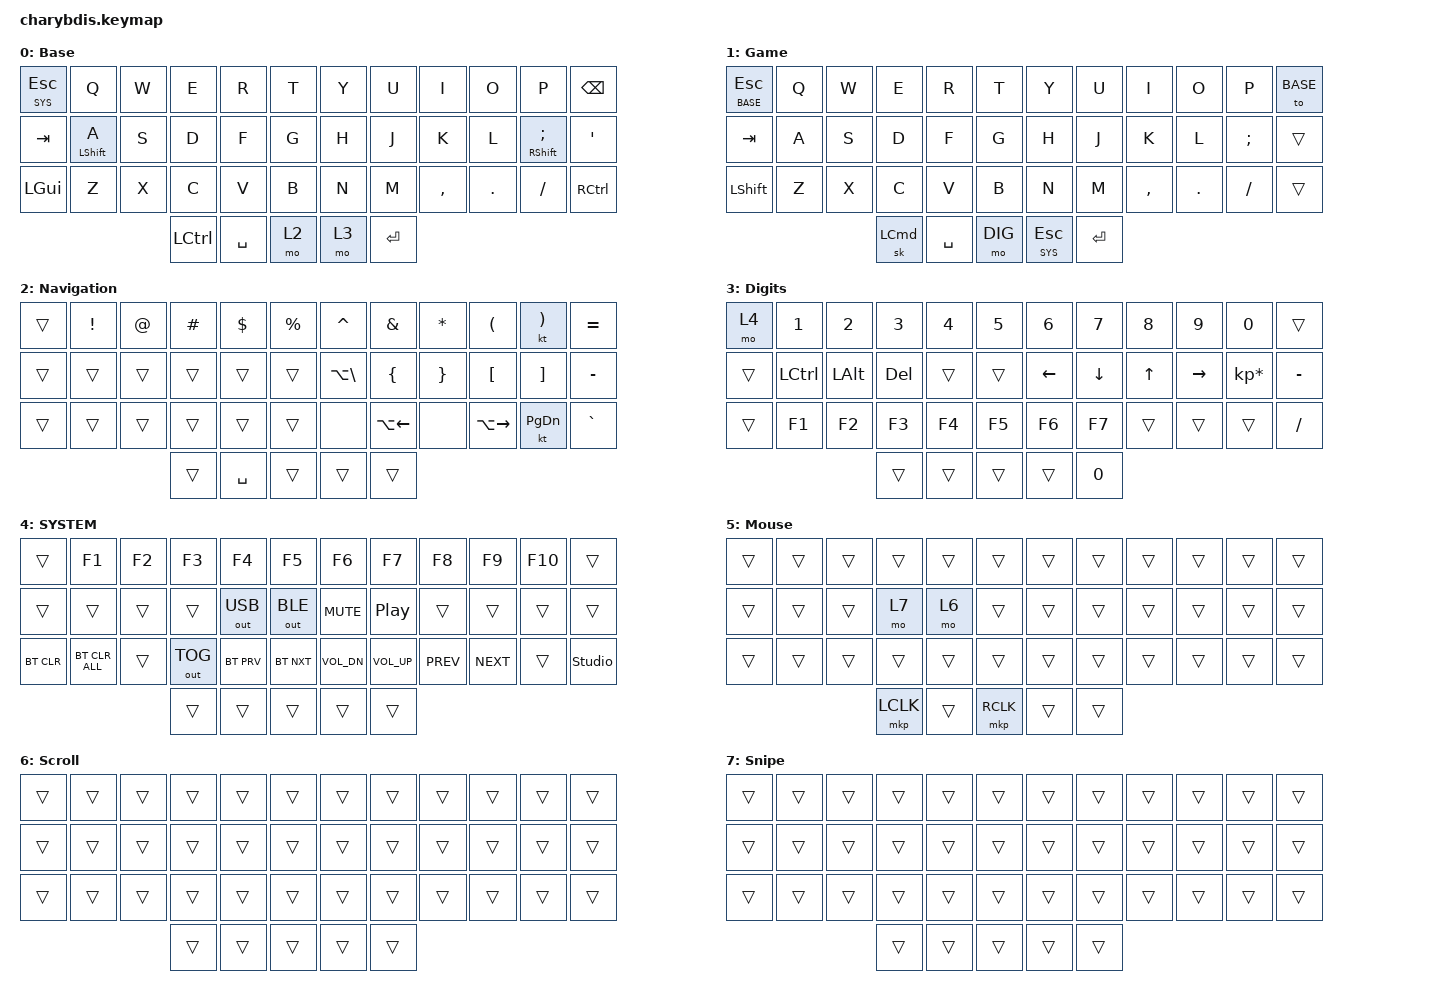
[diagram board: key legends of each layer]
#include <dt-bindings/zmk/mouse.h>
#include <input/processors.dtsi>
#include <dt-bindings/zmk/input_transform.h>

#define KEYS_L LT0 LT1 LT2 LT3 LT4 LM0 LM1 LM2 LM3 LM4 LB0 LB1 LB2 LB3 LB4 LB5  // left hand
#define KEYS_R RT0 RT1 RT2 RT3 RT4 RM0 RM1 RM2 RM3 RM4 RB0 RB1 RB2 RB3 RB4 RB5  // right hand
#define THUMBS LH2 LH1 LH0 RH0 RH1 // thumb cluster for both hands

#include "macros.dtsi"
#include <behaviors.dtsi>
#include <dt-bindings/zmk/bt.h>
#include <dt-bindings/zmk/keys.h>
#include <dt-bindings/zmk/outputs.h>
#include <dt-bindings/zmk/pointing.h>

#define BASE 0
#define GAME 1
#define NAV  2
#define DIG  3
#define SYS  4
#define MOUSE  5
#define SCROLL 6
#define SNIPE 7

&mt { flavor = "balanced"; };

/ {
    /omit-if-no-ref/ zip_temp_layer: zip_temp_layer {
        compatible = "zmk,input-processor-temp-layer";
        #input-processor-cells = <2>;
        // difines number of milliseconds no keys are pressed before swithcing to a new layear.
        require-prior-idle-ms = <2000>; 
    };
};

/ {
    trackball_listener {
        compatible = "zmk,input-listener";
        device = <&vtrackball>;

        // scaler: first is multiplier, second one is divider.
        // temp layer: first argument is layer, second is time in ms
        // zip_temp_layer: switch to a new layer after trackball moves, and stay on the layear for amount of millis

        input-processors = <&zip_xy_scaler 1 6>, <&zip_temp_layer MOUSE 1000>;

        snipe {
            layers = <SNIPE>;
            input-processors = <&zip_xy_scaler 1 18>;
        };

        scroll {
            layers = <SCROLL>;

            // scaler: first is multiplier, second one is divider.

            input-processors =
                <&zip_xy_to_scroll_mapper>,
                <&zip_scroll_transform(INPUT_TRANSFORM_XY_SWAP)>,
                <&zip_scroll_scaler 1 72>;
        };
    };

    behaviors {
        hm: hm {
            compatible = "zmk,behavior-hold-tap";
            label = "HM";
            bindings = <&kp>, <&kp>;

            #binding-cells = <2>;
            tapping-term-ms = <175>;
            quick-tap-ms = <150>;
            require-prior-idle-ms = <185>;
            flavor = "tap-preferred";
        };
    };

    keymap {
        compatible = "zmk,keymap";

        BASE {
            label = "Base";
            bindings = <
&lt SYS ESC   &kp Q             &kp W  &kp E             &kp R      &kp T    &kp Y  &kp U    &kp I      &kp O       &kp P                      &kp BACKSPACE
&kp TAB       &hm LEFT_SHIFT A  &kp S  &kp D             &kp F      &kp G    &kp H  &kp J    &kp K      &kp L       &hm RIGHT_SHIFT SEMICOLON  &kp SINGLE_QUOTE
&kp LEFT_GUI  &kp Z             &kp X  &kp C             &kp V      &kp B    &kp N  &kp M    &kp COMMA  &kp PERIOD  &kp SLASH                  &kp RIGHT_CONTROL
                                       &kp LEFT_CONTROL  &kp SPACE  &mo 2    &mo 3  &kp RET
            >;
        };

        GAME {
            label = "Game";
            bindings = <
&lt BASE ESC  &kp Q  &kp W  &kp E             &kp R      &kp T      &kp Y        &kp U    &kp I      &kp O    &kp P          &to BASE
&kp TAB       &kp A  &kp S  &kp D             &kp F      &kp G      &kp H        &kp J    &kp K      &kp L    &kp SEMICOLON  &trans
&kp LSHFT     &kp Z  &kp X  &kp C             &kp V      &kp B      &kp N        &kp M    &kp COMMA  &kp DOT  &kp SLASH      &trans
                            &sk LEFT_COMMAND  &kp SPACE  &mo DIG    &lt SYS ESC  &kp RET
            >;
        };

        Symbols {
            label = "Navigation";
            bindings = <
&trans  &kp EXCL  &kp AT  &kp HASH  &kp DOLLAR  &kp PERCENT    &kp CARET          &kp AMPERSAND   &kp ASTERISK     &kp LEFT_PARENTHESIS  &kt RIGHT_PARENTHESIS  &kp EQUAL
&trans  &trans    &trans  &trans    &trans      &trans         &kp LA(BACKSLASH)  &kp LEFT_BRACE  &kp RIGHT_BRACE  &kp LEFT_BRACKET      &kp RIGHT_BRACKET      &kp MINUS
&trans  &trans    &trans  &trans    &trans      &trans         &none              &kp LA(LEFT)    &none            &kp LA(RIGHT)         &kt PAGE_DOWN          &kp GRAVE
                          &trans    &kp SPACE   &trans         &trans             &trans
            >;
        };

        digits {
            label = "Digits";
            bindings = <
&mo 4   &kp NUMBER_1      &kp NUMBER_2  &kp NUMBER_3  &kp NUMBER_4  &kp N5    &kp NUMBER_6    &kp N7    &kp N8        &kp N9     &kp N0           &trans
&trans  &kp LEFT_CONTROL  &kp LEFT_ALT  &kp DEL       &trans        &trans    &kp LEFT_ARROW  &kp DOWN  &kp UP_ARROW  &kp RIGHT  &kp KP_MULTIPLY  &kp MINUS
&trans  &kp F1            &kp F2        &kp F3        &kp F4        &kp F5    &kp F6          &kp F7    &trans        &trans     &trans           &kp SLASH
                                        &trans        &trans        &trans    &trans          &kp N0
            >;
        };

        system {
            label = "SYSTEM";
            bindings = <
&trans      &kp F1          &kp F2  &kp F3        &kp F4        &kp F5          &kp F6        &kp F7        &kp F8      &kp F9      &kp F10  &trans
&trans      &trans          &trans  &trans        &out OUT_USB  &out OUT_BLE    &kp C_MUTE    &kp C_PP      &trans      &trans      &trans   &trans
&bt BT_CLR  &bt BT_CLR_ALL  &trans  &out OUT_TOG  &bt BT_PRV    &bt BT_NXT      &kp C_VOL_DN  &kp C_VOL_UP  &kp C_PREV  &kp C_NEXT  &trans   &studio_unlock
                                    &trans        &trans        &trans          &trans        &trans
            >;
        };

        AUTO-MOUSE {
            label = "Mouse";
            bindings = <
&trans  &trans  &trans  &trans     &trans  &trans       &trans  &trans  &trans  &trans  &trans  &trans
&trans  &trans  &trans  &mo 7      &mo 6   &trans       &trans  &trans  &trans  &trans  &trans  &trans
&trans  &trans  &trans  &trans     &trans  &trans       &trans  &trans  &trans  &trans  &trans  &trans
                        &mkp LCLK  &trans  &mkp RCLK    &trans  &trans
            >;
        };

        SCROLL {
            label = "Scroll";
            bindings = <
&trans  &trans  &trans  &trans  &trans  &trans    &trans  &trans  &trans  &trans  &trans  &trans
&trans  &trans  &trans  &trans  &trans  &trans    &trans  &trans  &trans  &trans  &trans  &trans
&trans  &trans  &trans  &trans  &trans  &trans    &trans  &trans  &trans  &trans  &trans  &trans
                        &trans  &trans  &trans    &trans  &trans
            >;
        };

        SNIPE {
            label = "Snipe";
            bindings = <
&trans  &trans  &trans  &trans  &trans  &trans    &trans  &trans  &trans  &trans  &trans  &trans
&trans  &trans  &trans  &trans  &trans  &trans    &trans  &trans  &trans  &trans  &trans  &trans
&trans  &trans  &trans  &trans  &trans  &trans    &trans  &trans  &trans  &trans  &trans  &trans
                        &trans  &trans  &trans    &trans  &trans
            >;
        };
    };
};
